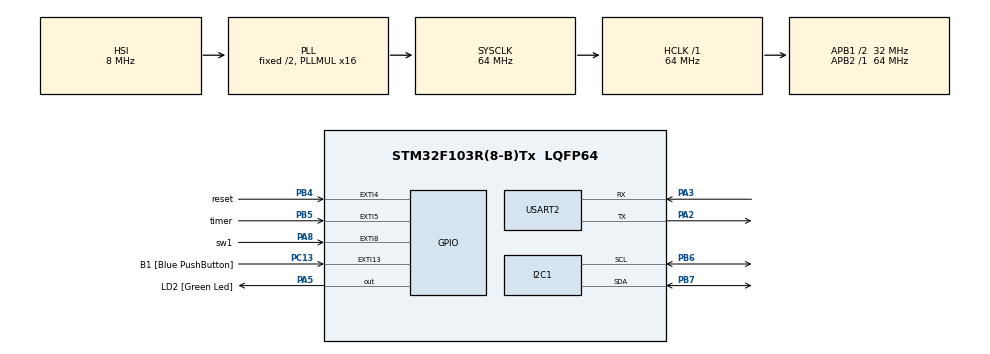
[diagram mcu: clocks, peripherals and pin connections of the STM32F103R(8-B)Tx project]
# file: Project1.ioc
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Mcu.Family=STM32F1
Mcu.Name=STM32F103R(8-B)Tx
Mcu.Package=LQFP64
NVIC.EXTI15_10_IRQn=true\:0\:0\:false\:false\:true\:true\:true\:true
NVIC.EXTI4_IRQn=true\:0\:0\:false\:false\:true\:true\:true\:true
NVIC.EXTI9_5_IRQn=true\:0\:0\:false\:false\:true\:true\:true\:true
NVIC.PriorityGroup=NVIC_PRIORITYGROUP_4
NVIC.TIM2_IRQn=true\:0\:0\:false\:false\:true\:true\:true\:true
PA13.GPIO_Label=TMS
PA13.Mode=Serial_Wire
PA13.Signal=SYS_JTMS-SWDIO
PA14.GPIO_Label=TCK
PA14.Mode=Serial_Wire
PA14.Signal=SYS_JTCK-SWCLK
PA2.GPIO_Mode=GPIO_MODE_AF_PP
PA2.GPIO_PuPd=GPIO_NOPULL
PA2.GPIO_Speed=GPIO_SPEED_FREQ_HIGH
PA2.Mode=Asynchronous
PA2.Signal=USART2_TX
PA3.GPIO_Mode=GPIO_MODE_INPUT
PA3.GPIO_PuPd=GPIO_NOPULL
PA3.GPIO_Speed=GPIO_SPEED_FREQ_LOW
PA3.Mode=Asynchronous
PA3.Signal=USART2_RX
PA5.GPIO_Label=LD2 [Green Led]
PA5.GPIO_ModeDefaultOutputPP=GPIO_MODE_OUTPUT_PP
PA5.GPIO_PuPd=GPIO_NOPULL
PA5.GPIO_Speed=GPIO_SPEED_FREQ_LOW
PA5.Signal=GPIO_Output
PA8.GPIO_Label=sw1
PA8.GPIO_ModeDefaultEXTI=GPIO_MODE_IT_FALLING
PA8.Signal=GPXTI8
PB3.GPIO_Label=SWO
PB3.Signal=SYS_JTDO-TRACESWO
PB4.GPIO_Label=reset
PB4.GPIO_ModeDefaultEXTI=GPIO_MODE_IT_FALLING
PB4.Signal=GPXTI4
PB5.GPIO_Label=timer
PB5.GPIO_ModeDefaultEXTI=GPIO_MODE_IT_FALLING
PB5.Signal=GPXTI5
PB6.Mode=I2C
PB6.Signal=I2C1_SCL
PB7.Mode=I2C
PB7.Signal=I2C1_SDA
PC13-TAMPER-RTC.GPIO_Label=B1 [Blue PushButton]
PC13-TAMPER-RTC.GPIO_PuPd=GPIO_NOPULL
PC13-TAMPER-RTC.Signal=GPXTI13
PC14-OSC32_IN.Mode=LSE-External-Oscillator
PC14-OSC32_IN.Signal=RCC_OSC32_IN
PC15-OSC32_OUT.Mode=LSE-External-Oscillator
PC15-OSC32_OUT.Signal=RCC_OSC32_OUT
PD0-OSC_IN.Mode=HSE-External-Clock-Source
PD0-OSC_IN.Signal=RCC_OSC_IN
PD1-OSC_OUT.Mode=HSE-External-Clock-Source
PD1-OSC_OUT.Signal=RCC_OSC_OUT
ProjectManager.HeapSize=0x200
ProjectManager.StackSize=0x400
ProjectManager.TargetToolchain=STM32CubeIDE
RCC.AHBFreq_Value=64000000
RCC.APB1CLKDivider=RCC_HCLK_DIV2
RCC.APB1Freq_Value=32000000
RCC.APB1TimFreq_Value=64000000
RCC.APB2Freq_Value=64000000
RCC.APB2TimFreq_Value=64000000
RCC.HCLKFreq_Value=64000000
RCC.PLLMUL=RCC_PLL_MUL16
RCC.RTCClockSelection=RCC_RTCCLKSOURCE_LSE
RCC.SYSCLKFreq_VALUE=64000000
RCC.SYSCLKSource=RCC_SYSCLKSOURCE_PLLCLK
RCC.USBFreq_Value=64000000
TIM2.Channel-Output\ Compare1\ No\ Output=TIM_CHANNEL_1
TIM2.Period=10000-1
TIM2.Prescaler=6400-1
TIM2.Pulse-Output\ Compare1\ No\ Output=10000-1
USART2.VirtualMode=VM_ASYNC
VP_TIM2_VS_ClockSourceINT.Mode=Internal
VP_TIM2_VS_no_output1.Mode=Output Compare1 No Output
board=NUCLEO-F103RB

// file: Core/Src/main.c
/* USER CODE BEGIN Header */
/**
  ******************************************************************************
  * @file           : main.c
  * @brief          : Main program body
  ******************************************************************************
  * @attention
  *
  * Copyright (c) 2022 STMicroelectronics.
  * All rights reserved.
  *
  * This software is licensed under terms that can be found in the LICENSE file
  * in the root directory of this software component.
  * If no LICENSE file comes with this software, it is provided AS-IS.
  *
  ******************************************************************************
  */
/* USER CODE END Header */
#include "main.h"

/* USER CODE BEGIN Includes */
#include "i2c-lcd.h"
#include "stdio.h"
/* USER CODE END Includes */

 I2C_HandleTypeDef hi2c1;

TIM_HandleTypeDef htim2;

UART_HandleTypeDef huart2;

/* USER CODE BEGIN PV */
uint8_t sec = 15;
uint8_t flag_sw1;
uint8_t flag_tm1;
char Sec[10];
int states = 0;
int count = 0;
unsigned long cnt = 0;

/* USER CODE END PV */

void SystemClock_Config(void);
static void MX_GPIO_Init(void);
static void MX_USART2_UART_Init(void);
static void MX_I2C1_Init(void);
static void MX_TIM2_Init(void);
/* USER CODE BEGIN PFP */
uint32_t HAL_GetTick(void);
/* USER CODE END PFP */

int main(void)
{

  /* MCU Configuration--------------------------------------------------------*/

  /* Reset of all peripherals, Initializes the Flash interface and the Systick. */
  HAL_Init();

  /* Configure the system clock */
  SystemClock_Config();

  /* Initialize all configured peripherals */
  MX_GPIO_Init();
  MX_USART2_UART_Init();
  MX_I2C1_Init();
  MX_TIM2_Init();
  /* USER CODE BEGIN 2 */
  lcd_init();
  HAL_TIM_Base_Start_IT(&htim2);
  HAL_TIM_OC_Start_IT(&htim2, TIM_CHANNEL_1);

  /* USER CODE END 2 */

  /* Infinite loop */
  while (1)
  {

  }
}

void SystemClock_Config(void)
{
  RCC_OscInitTypeDef RCC_OscInitStruct = {0};
  RCC_ClkInitTypeDef RCC_ClkInitStruct = {0};

  /** Initializes the RCC Oscillators according to the specified parameters
  * in the RCC_OscInitTypeDef structure.
  */
  RCC_OscInitStruct.OscillatorType = RCC_OSCILLATORTYPE_HSI;
  RCC_OscInitStruct.HSIState = RCC_HSI_ON;
  RCC_OscInitStruct.HSICalibrationValue = RCC_HSICALIBRATION_DEFAULT;
  RCC_OscInitStruct.PLL.PLLState = RCC_PLL_ON;
  RCC_OscInitStruct.PLL.PLLSource = RCC_PLLSOURCE_HSI_DIV2;
  RCC_OscInitStruct.PLL.PLLMUL = RCC_PLL_MUL16;
  if (HAL_RCC_OscConfig(&RCC_OscInitStruct) != HAL_OK)
  {
    Error_Handler();
  }

  /** Initializes the CPU, AHB and APB buses clocks
  */
  RCC_ClkInitStruct.ClockType = RCC_CLOCKTYPE_HCLK|RCC_CLOCKTYPE_SYSCLK
                              |RCC_CLOCKTYPE_PCLK1|RCC_CLOCKTYPE_PCLK2;
  RCC_ClkInitStruct.SYSCLKSource = RCC_SYSCLKSOURCE_PLLCLK;
  RCC_ClkInitStruct.AHBCLKDivider = RCC_SYSCLK_DIV1;
  RCC_ClkInitStruct.APB1CLKDivider = RCC_HCLK_DIV2;
  RCC_ClkInitStruct.APB2CLKDivider = RCC_HCLK_DIV1;

  if (HAL_RCC_ClockConfig(&RCC_ClkInitStruct, FLASH_LATENCY_2) != HAL_OK)
  {
    Error_Handler();
  }
}

static void MX_I2C1_Init(void)
{

  hi2c1.Instance = I2C1;
  hi2c1.Init.ClockSpeed = 100000;
  hi2c1.Init.DutyCycle = I2C_DUTYCYCLE_2;
  hi2c1.Init.OwnAddress1 = 0;
  hi2c1.Init.AddressingMode = I2C_ADDRESSINGMODE_7BIT;
  hi2c1.Init.DualAddressMode = I2C_DUALADDRESS_DISABLE;
  hi2c1.Init.OwnAddress2 = 0;
  hi2c1.Init.GeneralCallMode = I2C_GENERALCALL_DISABLE;
  hi2c1.Init.NoStretchMode = I2C_NOSTRETCH_DISABLE;
  if (HAL_I2C_Init(&hi2c1) != HAL_OK)
  {
    Error_Handler();
  }

}

static void MX_TIM2_Init(void)
{

  TIM_ClockConfigTypeDef sClockSourceConfig = {0};
  TIM_MasterConfigTypeDef sMasterConfig = {0};
  TIM_OC_InitTypeDef sConfigOC = {0};

  htim2.Instance = TIM2;
  htim2.Init.Prescaler = 6400-1;
  htim2.Init.CounterMode = TIM_COUNTERMODE_UP;
  htim2.Init.Period = 10000-1;
  htim2.Init.ClockDivision = TIM_CLOCKDIVISION_DIV1;
  htim2.Init.AutoReloadPreload = TIM_AUTORELOAD_PRELOAD_DISABLE;
  if (HAL_TIM_Base_Init(&htim2) != HAL_OK)
  {
    Error_Handler();
  }
  sClockSourceConfig.ClockSource = TIM_CLOCKSOURCE_INTERNAL;
  if (HAL_TIM_ConfigClockSource(&htim2, &sClockSourceConfig) != HAL_OK)
  {
    Error_Handler();
  }
  if (HAL_TIM_OC_Init(&htim2) != HAL_OK)
  {
    Error_Handler();
  }
  sMasterConfig.MasterOutputTrigger = TIM_TRGO_RESET;
  sMasterConfig.MasterSlaveMode = TIM_MASTERSLAVEMODE_DISABLE;
  if (HAL_TIMEx_MasterConfigSynchronization(&htim2, &sMasterConfig) != HAL_OK)
  {
    Error_Handler();
  }
  sConfigOC.OCMode = TIM_OCMODE_TIMING;
  sConfigOC.Pulse = 10000-1;
  sConfigOC.OCPolarity = TIM_OCPOLARITY_HIGH;
  sConfigOC.OCFastMode = TIM_OCFAST_DISABLE;
  if (HAL_TIM_OC_ConfigChannel(&htim2, &sConfigOC, TIM_CHANNEL_1) != HAL_OK)
  {
    Error_Handler();
  }

}

static void MX_USART2_UART_Init(void)
{

  huart2.Instance = USART2;
  huart2.Init.BaudRate = 115200;
  huart2.Init.WordLength = UART_WORDLENGTH_8B;
  huart2.Init.StopBits = UART_STOPBITS_1;
  huart2.Init.Parity = UART_PARITY_NONE;
  huart2.Init.Mode = UART_MODE_TX_RX;
  huart2.Init.HwFlowCtl = UART_HWCONTROL_NONE;
  huart2.Init.OverSampling = UART_OVERSAMPLING_16;
  if (HAL_UART_Init(&huart2) != HAL_OK)
  {
    Error_Handler();
  }

}

static void MX_GPIO_Init(void)
{
  GPIO_InitTypeDef GPIO_InitStruct = {0};

  /* GPIO Ports Clock Enable */
  __HAL_RCC_GPIOC_CLK_ENABLE();
  __HAL_RCC_GPIOD_CLK_ENABLE();
  __HAL_RCC_GPIOA_CLK_ENABLE();
  __HAL_RCC_GPIOB_CLK_ENABLE();

  /*Configure GPIO pin Output Level */
  HAL_GPIO_WritePin(LD2_GPIO_Port, LD2_Pin, GPIO_PIN_RESET);

  /*Configure GPIO pin : B1_Pin */
  GPIO_InitStruct.Pin = B1_Pin;
  GPIO_InitStruct.Mode = GPIO_MODE_IT_RISING;
  GPIO_InitStruct.Pull = GPIO_NOPULL;
  HAL_GPIO_Init(B1_GPIO_Port, &GPIO_InitStruct);

  /*Configure GPIO pin : LD2_Pin */
  GPIO_InitStruct.Pin = LD2_Pin;
  GPIO_InitStruct.Mode = GPIO_MODE_OUTPUT_PP;
  GPIO_InitStruct.Pull = GPIO_NOPULL;
  GPIO_InitStruct.Speed = GPIO_SPEED_FREQ_LOW;
  HAL_GPIO_Init(LD2_GPIO_Port, &GPIO_InitStruct);

  /*Configure GPIO pin : sw1_Pin */
  GPIO_InitStruct.Pin = sw1_Pin;
  GPIO_InitStruct.Mode = GPIO_MODE_IT_FALLING;
  GPIO_InitStruct.Pull = GPIO_NOPULL;
  HAL_GPIO_Init(sw1_GPIO_Port, &GPIO_InitStruct);

  /*Configure GPIO pins : reset_Pin timer_Pin */
  GPIO_InitStruct.Pin = reset_Pin|timer_Pin;
  GPIO_InitStruct.Mode = GPIO_MODE_IT_FALLING;
  GPIO_InitStruct.Pull = GPIO_NOPULL;
  HAL_GPIO_Init(GPIOB, &GPIO_InitStruct);

  /* EXTI interrupt init*/
  HAL_NVIC_SetPriority(EXTI4_IRQn, 0, 0);
  HAL_NVIC_EnableIRQ(EXTI4_IRQn);

  HAL_NVIC_SetPriority(EXTI9_5_IRQn, 0, 0);
  HAL_NVIC_EnableIRQ(EXTI9_5_IRQn);

  HAL_NVIC_SetPriority(EXTI15_10_IRQn, 0, 0);
  HAL_NVIC_EnableIRQ(EXTI15_10_IRQn);

}

/* USER CODE BEGIN 4 */
void HAL_GPIO_EXTI_Callback(uint16_t GPIO_Pin)
{
	if(GPIO_Pin == sw1_Pin)
	{
		flag_sw1 = 1;
		count =0;
		cnt = 0;
		states = 0;

	}
	if(GPIO_Pin == reset_Pin)
	{
		flag_sw1 = 0;
		sec = 15;
		count =0;
		cnt = 0;
		states = 0;

	}
	if(GPIO_Pin == timer_Pin)
		{
		flag_tm1 =1;
		if( flag_tm1 == 1 && count ==0 && cnt ==0)
			{
				cnt = HAL_GetTick();
				count++;
			}
		  else if(HAL_GetTick()> cnt+300 && cnt>0)
			{

				states = count;
				count =0;
				cnt = 0;
				flag_tm1 = 0;
			}
		  else if(flag_tm1 == 1 && HAL_GetTick()>cnt+50)
			{
				cnt = HAL_GetTick();
				count++;
				if(count >= 3)
				{
					count =3;
				}
			}
		  switch(states)
			{
//		  case 0:
//			  break;
			case 1 :
				sec = 10;
				count = 0;
				states = 0;
				break;

			case 2 :
				sec = 15;
				count = 0;
				states = 0;
				break;
			case 3 :
				sec = 20;
				count = 0;
				states = 0;
				break;
			}
		}

}
void HAL_TIM_PeriodElapsedCallback(TIM_HandleTypeDef *htim)
{

	lcd_put_cur(0, 0);
	lcd_send_string("STATUS:");
	lcd_put_cur(0, 7);
	lcd_send_string("READY....");

	if(flag_sw1 == 1)
	{
		if(sec > 0)
		{
			sec--;
			lcd_put_cur(0, 7);
			lcd_send_string("COUNTDOWN");
		}

		else if (sec ==0)
		{
			lcd_put_cur(0, 7);
			lcd_send_string("!!BOOOM!!");
			sec = 0;
		}
	}

}
void HAL_TIM_OC_DelayElapsedCallback(TIM_HandleTypeDef *htim)
{
		lcd_put_cur(1,0);
		sprintf(Sec,"TIME:%02d",sec);
		lcd_send_string(Sec);
}

/* USER CODE END 4 */

void Error_Handler(void)
{
  __disable_irq();
  while (1)
  {
  }
}
